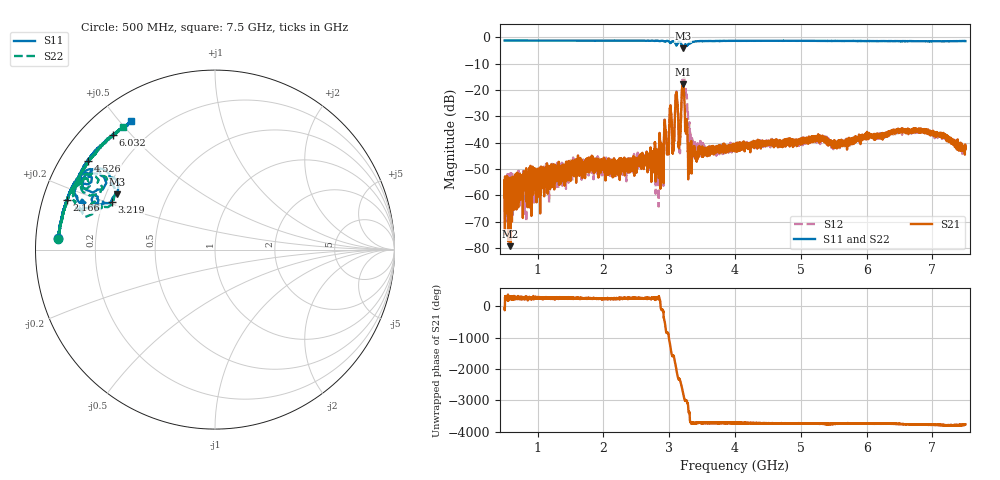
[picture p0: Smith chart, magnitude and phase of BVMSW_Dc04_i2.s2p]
!Keysight Technologies,M9374A,MY55442783,A.12.55.05
!Date: Thursday, May 20, 2021 18:01:13
!Correction: S11(Full 2 Port(1,2))
!S21(Full 2 Port(1,2))
!S12(Full 2 Port(1,2))
!S22(Full 2 Port(1,2))
!S2P File: Measurements: S11, S21, S12, S22:
# Hz S  RI  R 50
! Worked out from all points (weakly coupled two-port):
!   7001 points, 500 MHz to 7.5 GHz, reference 50 ohm
!   highest |S21| = -17.86 dB at 3.207 GHz (marker M1); lowest = -79.3 dB at 588 MHz (marker M2)
!   lowest |S11| = -4.1 dB at 3.21 GHz (marker M3), VSWR 4.36, Z = 12.2 + j12.4 ohm
!   |S11| at or under -10 dB: nowhere
!   |S22| runs from -4.1 to -1.1 dB; largest |S21 - S12| = 0.12
!   S11 on the Smith chart (normalised r, x): 500 MHz: 0.07, +0.04; 2.166 GHz: 0.07, +0.16; 3.219 GHz: 0.23, +0.21; 4.526 GHz: 0.08, +0.31; 6.032 GHz: 0.09, +0.44; 7.5 GHz: 0.10, +0.54
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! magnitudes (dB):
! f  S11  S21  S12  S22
! 500 MHz  -1.1  -60.7  -66.2  -1.2
! 588 MHz  -1.2  -79.3  -51.5  -1.1
! 1.667 GHz  -1.2  -46.7  -48.3  -1.2
! 2.166 GHz  -1.2  -49.7  -52.0  -1.2
! 2.834 GHz  -1.3  -45.7  -46.5  -1.3
! 3.015 GHz  -1.9  -26.5  -26.6  -1.9
! 3.061 GHz  -1.4  -42.6  -43.1  -1.4
! 3.109 GHz  -3.1  -20.8  -20.4  -3.0
! 3.158 GHz  -1.7  -40.5  -43.6  -1.7
! 3.207 GHz  -4.0  -17.9  -15.9  -3.9
! 3.21 GHz  -4.1  -18.1  -15.6  -4.0
! 3.219 GHz  -4.0  -19.4  -15.1  -3.9
! 3.245 GHz  -2.6  -34.2  -21.0  -2.6
! 3.287 GHz  -2.7  -49.3  -29.9  -2.9
! 3.361 GHz  -1.7  -43.7  -41.1  -1.7
! 4 GHz  -1.3  -41.9  -41.9  -1.4
! 4.526 GHz  -1.3  -40.4  -39.9  -1.3
! 5.167 GHz  -1.3  -38.4  -38.1  -1.3
! 6.032 GHz  -1.3  -37.4  -38.5  -1.3
! 6.334 GHz  -1.4  -36.7  -37.0  -1.3
! 6.899 GHz  -1.4  -35.5  -35.7  -1.4
! 7.5 GHz  -1.4  -42.2  -42.2  -1.4
